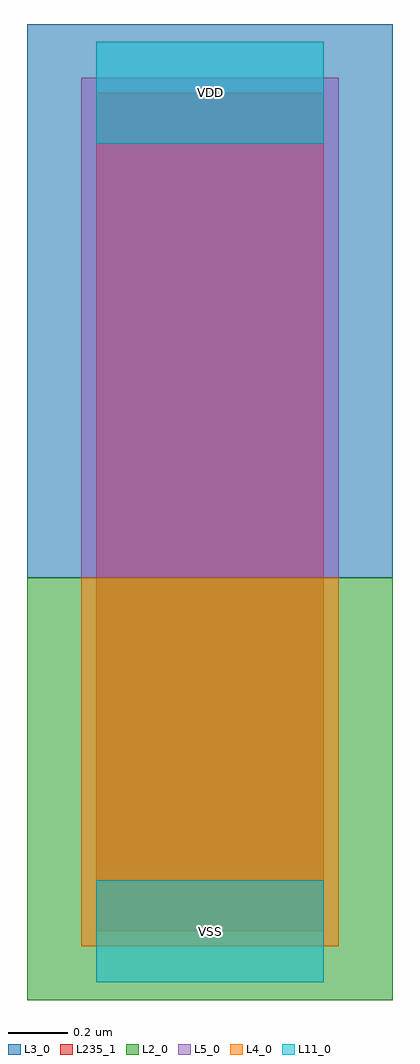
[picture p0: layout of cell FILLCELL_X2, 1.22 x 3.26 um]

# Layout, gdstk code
import gdstk
lib = gdstk.Library(unit=1e-6, precision=1e-09)
def R(c, l, rs):  # rectangles x0, y0, x1, y1
    for r in rs: c.add(gdstk.rectangle(r[:2], r[2:], *l))
L2_0 = (2, 0)
L3_0 = (3, 0)
L4_0 = (4, 0)
L5_0 = (5, 0)
L11_0 = (11, 0)
L235_1 = (235, 1)

fillcell_x2 = lib.new_cell('FILLCELL_X2')
R(fillcell_x2, L2_0, [(-0.23,-0.23,0.99,1.18)])
R(fillcell_x2, L3_0, [(-0.23,1.18,0.99,3.03)])
R(fillcell_x2, L4_0, [(-0.05,-0.05,0.81,1.18)])
R(fillcell_x2, L5_0, [(-0.05,1.18,0.81,2.85)])
R(fillcell_x2, L11_0, [(0,-0.17,0.76,0.17), (0,-0.17,0.76,0.17), (0,2.63,0.76,2.97), (0,2.63,0.76,2.97)])
R(fillcell_x2, L235_1, [(0,0,0.76,2.8)])
fillcell_x2.add(gdstk.Label('VSS', (0.38,0), layer=11, texttype=0))
fillcell_x2.add(gdstk.Label('VDD', (0.38,2.8), layer=11, texttype=0))

lib.write_gds('FILLCELL_X2.gds')
